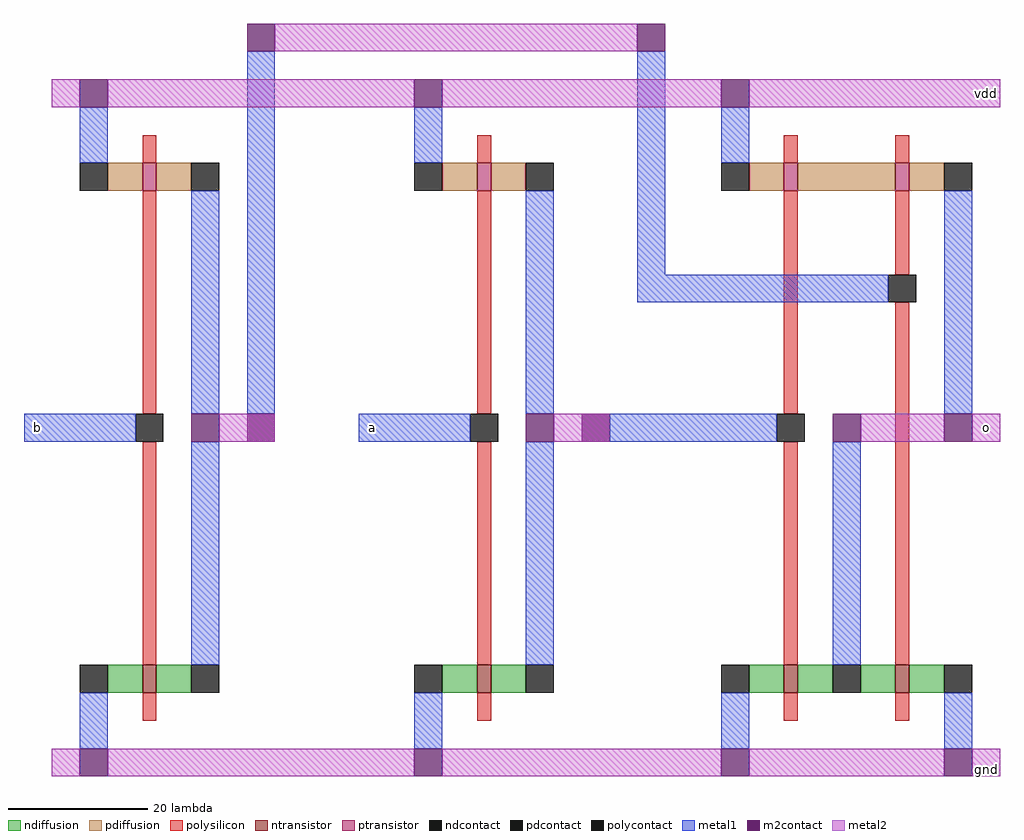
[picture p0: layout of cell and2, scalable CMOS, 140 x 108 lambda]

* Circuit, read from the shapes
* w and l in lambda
.subckt and2 a b gnd o vdd
M1 n1 b gnd VSUBS nfet w=4 l=2
M2 n2 a gnd VSUBS nfet w=4 l=2
M3 o n2 gnd VSUBS nfet w=4 l=2
M4 gnd n1 o VSUBS nfet w=4 l=2
M5 n1 b vdd NWELL pfet w=4 l=2
M6 n2 a vdd NWELL pfet w=4 l=2
M7 n3 n2 vdd NWELL pfet w=4 l=2
M8 o n1 n3 NWELL pfet w=4 l=2
.ends

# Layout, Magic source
magic
tech scmos
<< polysilicon >>
rect 5 64 7 68
rect 21 64 23 68
rect 5 28 7 60
rect 21 48 23 60
rect 5 -8 7 24
rect 21 -8 23 44
rect 5 -16 7 -12
rect 21 -16 23 -12
<< ndiffusion >>
rect 0 -12 5 -8
rect 7 -12 12 -8
rect 16 -12 21 -8
rect 23 -12 28 -8
<< pdiffusion >>
rect 0 60 5 64
rect 7 60 21 64
rect 23 60 28 64
<< metal1 >>
rect -72 28 -68 80
rect -16 48 -12 80
rect -4 64 0 72
rect -16 44 20 48
rect 28 28 32 60
rect -104 24 -100 28
rect -56 24 -52 28
rect -20 24 4 28
rect 12 -8 16 24
rect -4 -20 0 -12
rect 28 -20 32 -12
<< metal2 >>
rect -68 80 -16 84
rect -72 72 -52 76
rect -24 72 -4 76
rect 0 72 36 76
rect 16 24 28 28
rect 32 24 36 28
rect -72 -24 -52 -20
rect -24 -24 -4 -20
rect 0 -24 28 -20
rect 32 -24 36 -20
<< ntransistor >>
rect 5 -12 7 -8
rect 21 -12 23 -8
<< ptransistor >>
rect 5 60 7 64
rect 21 60 23 64
<< polycontact >>
rect 20 44 24 48
rect 4 24 8 28
<< ndcontact >>
rect -4 -12 0 -8
rect 12 -12 16 -8
rect 28 -12 32 -8
<< pdcontact >>
rect -4 60 0 64
rect 28 60 32 64
<< m2contact >>
rect -72 80 -68 84
rect -16 80 -12 84
rect -4 72 0 76
rect -72 24 -68 28
rect -24 24 -20 28
rect 12 24 16 28
rect 28 24 32 28
rect -4 -24 0 -20
rect 28 -24 32 -20
use not  not_0
transform 1 0 -60 0 1 28
box 4 -52 40 48
use not  not_1
transform 1 0 -108 0 1 28
box 4 -52 40 48
<< labels >>
rlabel metal2 32 72 36 76 1 vdd
rlabel metal2 34 -23 34 -23 1 gnd
rlabel metal1 -56 24 -52 28 1 a
rlabel metal1 -104 24 -100 28 3 b
rlabel metal2 34 26 34 26 7 o
<< end >>

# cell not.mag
magic
tech scmos
<< polysilicon >>
rect 21 36 23 40
rect 21 0 23 32
rect 21 -36 23 -4
rect 21 -44 23 -40
<< ndiffusion >>
rect 16 -40 21 -36
rect 23 -40 28 -36
<< pdiffusion >>
rect 16 32 21 36
rect 23 32 28 36
<< metal1 >>
rect 12 36 16 44
rect 28 0 32 32
rect 4 -4 20 0
rect 28 -36 32 -4
rect 12 -48 16 -40
<< metal2 >>
rect 8 44 12 48
rect 16 44 36 48
rect 32 -4 40 0
rect 8 -52 12 -48
rect 16 -52 36 -48
<< ntransistor >>
rect 21 -40 23 -36
<< ptransistor >>
rect 21 32 23 36
<< polycontact >>
rect 20 -4 24 0
<< ndcontact >>
rect 12 -40 16 -36
rect 28 -40 32 -36
<< pdcontact >>
rect 12 32 16 36
rect 28 32 32 36
<< m2contact >>
rect 12 44 16 48
rect 28 -4 32 0
rect 12 -52 16 -48
<< end >>
